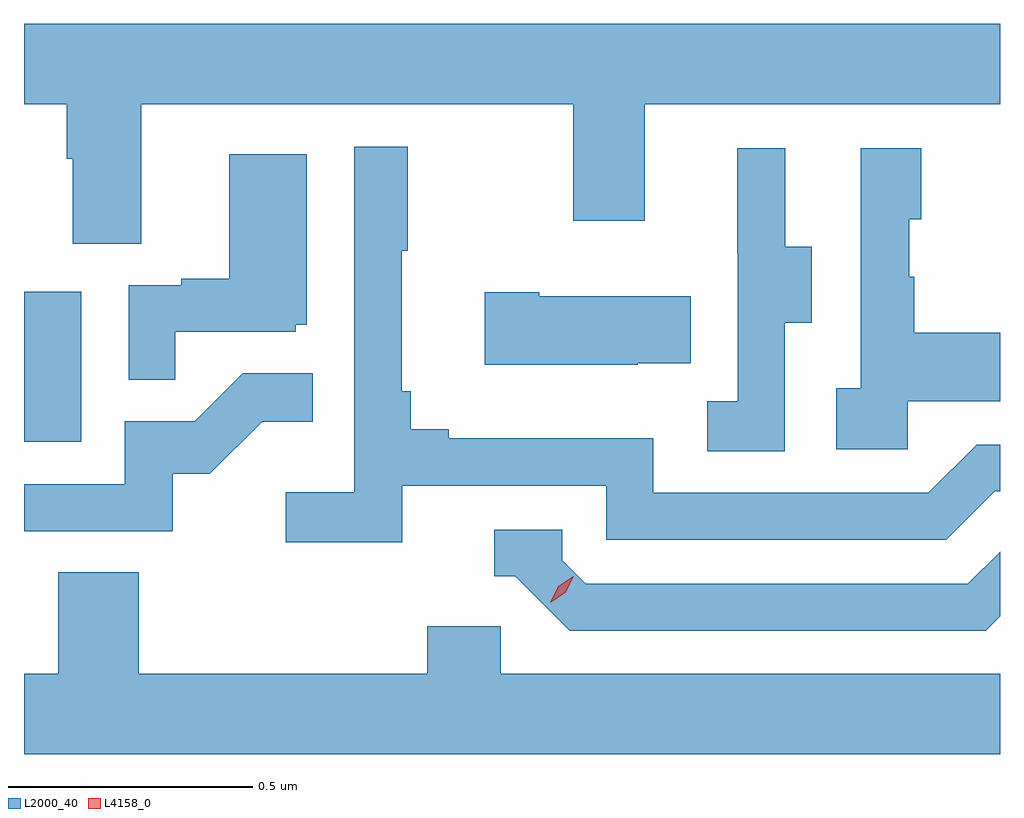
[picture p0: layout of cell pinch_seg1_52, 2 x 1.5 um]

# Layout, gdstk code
import gdstk
lib = gdstk.Library(unit=1e-6, precision=1e-09)
def R(c, l, rs):  # rectangles x0, y0, x1, y1
    for r in rs: c.add(gdstk.rectangle(r[:2], r[2:], *l))
def P(c, l, *ps):  # polygons
    for p in ps: c.add(gdstk.Polygon(p, *l))
L2000_40 = (2000, 40)
L4158_0 = (4158, 0)

pinch_seg1_52 = lib.new_cell('pinch_seg1_52')
R(pinch_seg1_52, L2000_40, [(1061.137,573.684,1061.254,573.991)])
P(pinch_seg1_52, L2000_40, [(1061.377,574.376),(1062.262,574.376),(1062.262,574.137),(1062.409,574.137),(1062.409,574.376),(1063.137,574.376),(1063.137,574.54),(1061.137,574.54),(1061.137,574.376),(1061.225,574.376),(1061.225,574.264),(1061.237,574.264),(1061.237,574.09),(1061.377,574.09)],
  [(1061.912,573.594),(1062.33,573.594),(1062.33,573.483),(1063.027,573.483),(1063.126,573.582),(1063.137,573.582),(1063.137,573.678),(1063.089,573.678),(1062.99,573.579),(1062.426,573.579),(1062.426,573.691),(1062.007,573.691),(1062.007,573.71),(1061.93,573.71),(1061.93,573.787),(1061.911,573.787),(1061.911,574.075),(1061.923,574.075),(1061.923,574.288),(1061.814,574.288),(1061.814,573.58),(1061.673,573.58),(1061.673,573.478),(1061.912,573.478)],
  [(1062.696,573.928),(1062.751,573.928),(1062.751,574.083),(1062.697,574.083),(1062.697,574.285),(1062.599,574.285),(1062.599,574.071),(1062.6,574.071),(1062.6,573.767),(1062.537,573.767),(1062.537,573.664),(1062.696,573.664)],
  [(1062.948,573.767),(1063.137,573.767),(1063.137,573.907),(1062.961,573.907),(1062.961,574.022),(1062.951,574.022),(1062.951,574.14),(1062.976,574.14),(1062.976,574.285),(1062.852,574.285),(1062.852,573.794),(1062.801,573.794),(1062.801,573.669),(1062.948,573.669)],
  [(1061.447,573.909),(1061.694,573.909),(1061.694,573.924),(1061.716,573.924),(1061.716,574.273),(1061.558,574.273),(1061.558,574.018),(1061.459,574.018),(1061.459,574.005),(1061.352,574.005),(1061.352,573.811),(1061.447,573.811)],
  [(1062.395,573.845),(1062.503,573.845),(1062.503,573.982),(1062.193,573.982),(1062.193,573.99),(1062.081,573.99),(1062.081,573.842),(1062.395,573.842)],
  [(1061.442,573.618),(1061.518,573.618),(1061.625,573.725),(1061.729,573.725),(1061.729,573.824),(1061.585,573.824),(1061.487,573.726),(1061.343,573.726),(1061.343,573.597),(1061.137,573.597),(1061.137,573.501),(1061.442,573.501)],
  [(1063.137,573.326),(1063.137,573.459),(1063.071,573.393),(1062.288,573.393),(1062.24,573.441),(1062.24,573.504),(1062.101,573.504),(1062.101,573.408),(1062.144,573.408),(1062.255,573.297),(1063.108,573.297)],
  [(1063.137,573.208),(1062.114,573.208),(1062.114,573.306),(1061.963,573.306),(1061.963,573.208),(1061.372,573.208),(1061.372,573.416),(1061.207,573.416),(1061.207,573.208),(1061.137,573.208),(1061.137,573.044),(1063.137,573.044)])
P(pinch_seg1_52, L4158_0, [(1062.216,573.355),(1062.216,573.356),(1062.232,573.388),(1062.263,573.408),(1062.263,573.408),(1062.263,573.407),(1062.247,573.375),(1062.217,573.355)])

lib.write_gds('pinch_seg1_52.gds')
